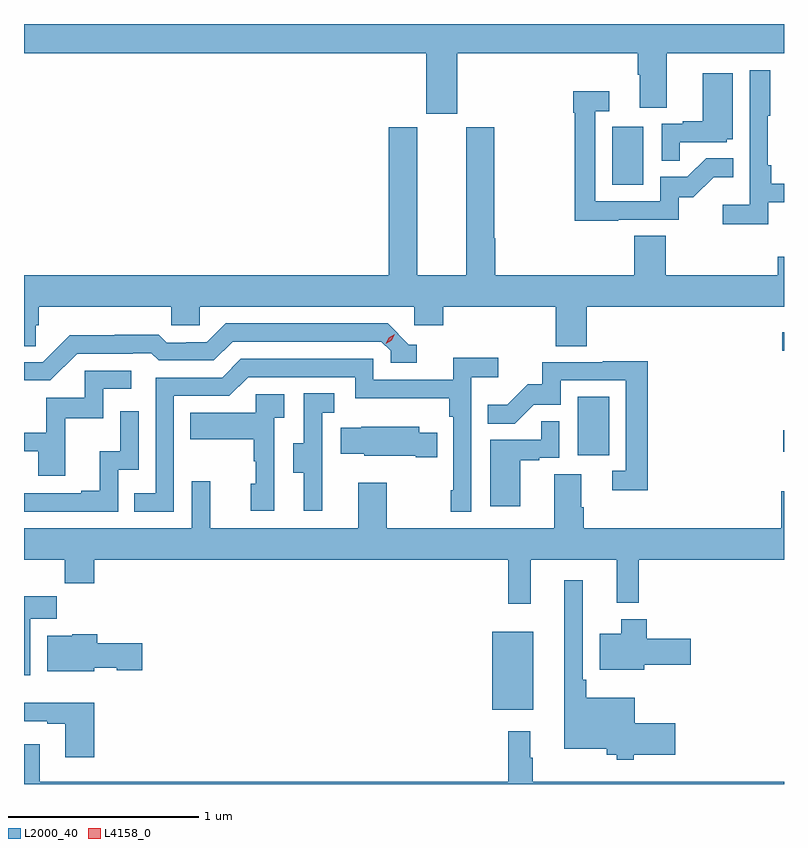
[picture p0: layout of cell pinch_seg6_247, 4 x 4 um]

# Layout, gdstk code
import gdstk
lib = gdstk.Library(unit=1e-6, precision=1e-09)
def R(c, l, rs):  # rectangles x0, y0, x1, y1
    for r in rs: c.add(gdstk.rectangle(r[:2], r[2:], *l))
def P(c, l, *ps):  # polygons
    for p in ps: c.add(gdstk.Polygon(p, *l))
L2000_40 = (2000, 40)
L4158_0 = (4158, 0)

pinch_seg6_247 = lib.new_cell('pinch_seg6_247')
R(pinch_seg6_247, L2000_40, [(1131.944,919.907,1132.159,920.317), (1132.394,921.246,1132.558,921.553), (1133.474,921.264,1133.479,921.376), (1133.469,921.795,1133.479,921.892), (1132.574,922.668,1132.738,922.975)])
P(pinch_seg6_247, L2000_40, [(1131.76,923.36),(1132.709,923.36),(1132.709,923.248),(1132.721,923.248),(1132.721,923.074),(1132.861,923.074),(1132.861,923.36),(1133.479,923.36),(1133.479,923.515),(1129.479,923.515),(1129.479,923.36),(1131.596,923.36),(1131.596,923.043),(1131.76,923.043)],
  [(1133.396,922.578),(1133.479,922.578),(1133.479,922.675),(1133.411,922.675),(1133.411,922.771),(1133.394,922.771),(1133.394,923.032),(1133.407,923.032),(1133.407,923.272),(1133.298,923.272),(1133.298,922.564),(1133.157,922.564),(1133.157,922.462),(1133.396,922.462)],
  [(1132.931,922.893),(1133.178,922.893),(1133.178,922.908),(1133.209,922.908),(1133.209,923.257),(1133.051,923.257),(1133.051,923.002),(1132.947,923.002),(1132.947,922.989),(1132.836,922.989),(1132.836,922.795),(1132.931,922.795)],
  [(1132.607,922.485),(1132.926,922.485),(1132.926,922.602),(1133.002,922.602),(1133.109,922.709),(1133.213,922.709),(1133.213,922.808),(1133.069,922.808),(1132.971,922.71),(1132.827,922.71),(1132.827,922.581),(1132.485,922.581),(1132.485,923.055),(1132.558,923.055),(1132.558,923.161),(1132.369,923.161),(1132.369,923.048),(1132.377,923.048),(1132.377,922.48),(1132.607,922.48)],
  [(1129.541,921.93),(1129.556,921.93),(1129.556,922.028),(1130.253,922.028),(1130.253,921.93),(1130.403,921.93),(1130.403,922.028),(1131.534,922.028),(1131.534,921.93),(1131.686,921.93),(1131.686,922.028),(1132.277,922.028),(1132.277,921.82),(1132.442,921.82),(1132.442,922.028),(1133.479,922.028),(1133.479,922.29),(1133.447,922.29),(1133.447,922.192),(1132.856,922.192),(1132.856,922.4),(1132.691,922.4),(1132.691,922.192),(1131.959,922.192),(1131.959,922.388),(1131.954,922.388),(1131.954,922.971),(1131.806,922.971),(1131.806,922.192),(1131.55,922.192),(1131.55,922.971),(1131.398,922.971),(1131.398,922.192),(1129.479,922.192),(1129.479,921.82),(1129.541,921.82)],
  [(1129.758,921.78),(1130.051,921.78),(1130.051,921.783),(1130.15,921.783),(1130.189,921.744),(1130.478,921.744),(1130.577,921.843),(1131.36,921.843),(1131.408,921.795),(1131.408,921.732),(1131.547,921.732),(1131.547,921.828),(1131.504,921.828),(1131.393,921.939),(1130.54,921.939),(1130.441,921.84),(1130.334,921.84),(1130.334,921.837),(1130.231,921.837),(1130.189,921.88),(1129.956,921.88),(1129.956,921.877),(1129.72,921.877),(1129.578,921.735),(1129.479,921.735),(1129.479,921.639),(1129.617,921.639)],
  [(1130.268,921.558),(1130.559,921.558),(1130.658,921.657),(1131.222,921.657),(1131.222,921.545),(1131.718,921.545),(1131.718,921.449),(1131.738,921.449),(1131.738,921.061),(1131.726,921.061),(1131.726,920.949),(1131.834,920.949),(1131.834,921.656),(1131.976,921.656),(1131.976,921.758),(1131.737,921.758),(1131.737,921.642),(1131.318,921.642),(1131.318,921.753),(1130.621,921.753),(1130.522,921.654),(1130.172,921.654),(1130.172,921.045),(1130.059,921.045),(1130.059,920.949),(1130.268,920.949)],
  [(1132.763,921.74),(1132.525,921.74),(1132.525,921.735),(1132.207,921.735),(1132.207,921.618),(1132.13,921.618),(1132.023,921.511),(1131.919,921.511),(1131.919,921.412),(1132.063,921.412),(1132.161,921.51),(1132.305,921.51),(1132.305,921.639),(1132.647,921.639),(1132.647,921.165),(1132.575,921.165),(1132.575,921.06),(1132.763,921.06)],
  [(1129.697,921.441),(1129.896,921.441),(1129.896,921.594),(1130.044,921.594),(1130.044,921.69),(1129.8,921.69),(1129.8,921.549),(1129.595,921.549),(1129.595,921.363),(1129.479,921.363),(1129.479,921.267),(1129.553,921.267),(1129.553,921.138),(1129.697,921.138)],
  [(1131.05,921.165),(1131.048,921.165),(1131.048,921.469),(1131.112,921.469),(1131.112,921.572),(1130.952,921.572),(1130.952,921.309),(1130.897,921.309),(1130.897,921.154),(1130.951,921.154),(1130.951,920.952),(1131.05,920.952)],
  [(1130.796,921.443),(1130.848,921.443),(1130.848,921.567),(1130.7,921.567),(1130.7,921.469),(1130.353,921.469),(1130.353,921.329),(1130.688,921.329),(1130.688,921.215),(1130.698,921.215),(1130.698,921.096),(1130.672,921.096),(1130.672,920.952),(1130.796,920.952)],
  [(1129.974,921.168),(1130.082,921.168),(1130.082,921.478),(1129.986,921.478),(1129.986,921.266),(1129.877,921.266),(1129.877,921.058),(1129.781,921.058),(1129.781,921.045),(1129.479,921.045),(1129.479,920.949),(1129.974,920.949)],
  [(1132.09,921.219),(1132.19,921.219),(1132.19,921.231),(1132.296,921.231),(1132.296,921.425),(1132.201,921.425),(1132.201,921.327),(1131.932,921.327),(1131.932,920.976),(1132.09,920.976)],
  [(1131.653,921.364),(1131.559,921.364),(1131.559,921.394),(1131.253,921.394),(1131.253,921.391),(1131.145,921.391),(1131.145,921.254),(1131.27,921.254),(1131.27,921.242),(1131.542,921.242),(1131.542,921.235),(1131.653,921.235)],
  [(1132.145,920.696),(1132.598,920.696),(1132.598,920.468),(1132.715,920.468),(1132.715,920.696),(1133.479,920.696),(1133.479,921.055),(1133.465,921.055),(1133.465,920.86),(1132.424,920.86),(1132.424,920.972),(1132.411,920.972),(1132.411,921.146),(1132.271,921.146),(1132.271,920.86),(1131.387,920.86),(1131.387,921.1),(1131.239,921.1),(1131.239,920.86),(1130.459,920.86),(1130.459,921.109),(1130.361,921.109),(1130.361,920.86),(1129.479,920.86),(1129.479,920.696),(1129.693,920.696),(1129.693,920.572),(1129.85,920.572),(1129.85,920.696),(1132.027,920.696),(1132.027,920.463),(1132.145,920.463)],
  [(1132.689,919.67),(1132.906,919.67),(1132.906,919.836),(1132.693,919.836),(1132.693,919.969),(1132.439,919.969),(1132.439,920.065),(1132.419,920.065),(1132.419,920.587),(1132.322,920.587),(1132.322,919.7),(1132.546,919.7),(1132.546,919.67),(1132.599,919.67),(1132.599,919.643),(1132.689,919.643)],
  [(1129.513,920.384),(1129.652,920.384),(1129.652,920.503),(1129.479,920.503),(1129.479,920.088),(1129.513,920.088)],
  [(1132.744,920.143),(1132.987,920.143),(1132.987,920.28),(1132.757,920.28),(1132.757,920.383),(1132.622,920.383),(1132.622,920.305),(1132.508,920.305),(1132.508,920.117),(1132.744,920.117)],
  [(1129.848,920.126),(1129.968,920.126),(1129.968,920.114),(1130.101,920.114),(1130.101,920.256),(1129.865,920.256),(1129.865,920.302),(1129.734,920.302),(1129.734,920.296),(1129.601,920.296),(1129.601,920.108),(1129.848,920.108)],
  [(1129.85,919.942),(1129.479,919.942),(1129.479,919.845),(1129.601,919.845),(1129.601,919.833),(1129.697,919.833),(1129.697,919.656),(1129.85,919.656)],
  [(1133.479,919.528),(1132.156,919.528),(1132.156,919.652),(1132.144,919.652),(1132.144,919.792),(1132.027,919.792),(1132.027,919.528),(1129.561,919.528),(1129.561,919.723),(1129.479,919.723),(1129.479,919.515),(1133.479,919.515)])
P(pinch_seg6_247, L4158_0, [(1131.383,921.831),(1131.383,921.831),(1131.399,921.863),(1131.429,921.883),(1131.429,921.883),(1131.429,921.882),(1131.414,921.85),(1131.383,921.831)])

lib.write_gds('pinch_seg6_247.gds')
